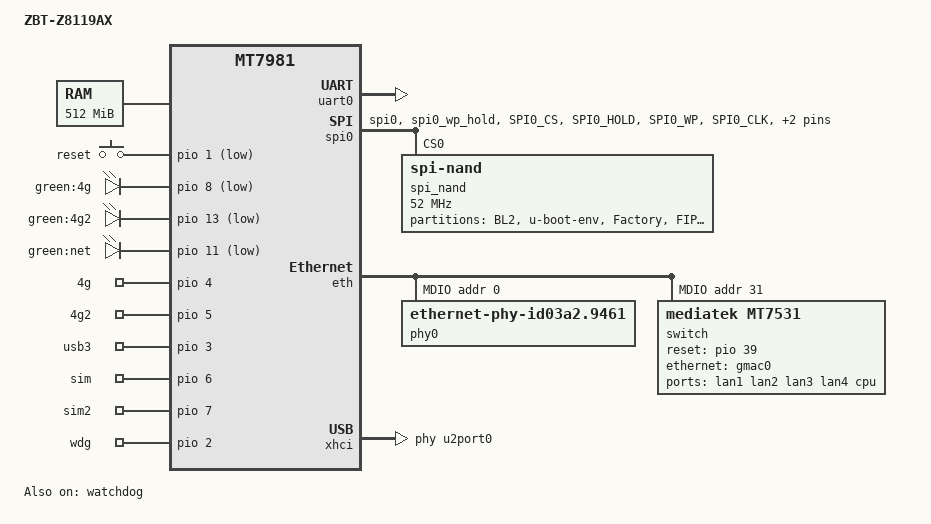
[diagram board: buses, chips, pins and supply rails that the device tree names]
/dts-v1/;
#include "mt7981.dtsi"
#include <dt-bindings/gpio/gpio.h>
#include <dt-bindings/input/input.h>

/ {
	model = "ZBT-Z8119AX";
	compatible = "zbtlink,z8119ax", "mediatek,mt7981-spim-snand-rfb";

	chosen {
		bootargs = "console=ttyS0,115200n1 loglevel=8 earlycon=uart8250,mmio32,0x11002000 ipv6.disable=1";
	};

	memory {
		reg = <0 0x40000000 0 0x20000000>;
	};

	gpio-keys {
		compatible = "gpio-keys";
		reset {
			label = "reset";
			linux,code = <KEY_RESTART>;
			gpios = <&pio 1 GPIO_ACTIVE_LOW>;
		};
	};

	gpio-leds {
		compatible = "gpio-leds";
		led-4g {
			label = "green:4g";
			gpios = <&pio 8 GPIO_ACTIVE_LOW>;
		};
		led-4g2 {
			label = "green:4g2";
			gpios = <&pio 13 GPIO_ACTIVE_LOW>;
		};
		led-net {
			label = "green:net";
			gpios = <&pio 11 GPIO_ACTIVE_LOW>;
		};
	};

	gpio-export {
		compatible = "gpio-export";
		#size-cells = <0>;
		4g {
			gpio-export,name = "4g";
			gpio-export,output = <1>;
			gpios = <&pio 4 GPIO_ACTIVE_HIGH>;
		};
		4g2 {
			gpio-export,name = "4g2";
			gpio-export,output = <1>;
			gpios = <&pio 5 GPIO_ACTIVE_HIGH>;
		};
		usb3 {
			gpio-export,name = "usb3";
			gpio-export,output = <1>;
			gpios = <&pio 3 GPIO_ACTIVE_HIGH>;
		};
		sim {
			gpio-export,name = "sim";
			gpio-export,output = <1>;
			gpios = <&pio 6 GPIO_ACTIVE_HIGH>;
		};
		sim2 {
			gpio-export,name = "sim2";
			gpio-export,output = <1>;
			gpios = <&pio 7 GPIO_ACTIVE_HIGH>;
		};
		wdg {
			gpio-export,name = "wdg";
			gpio-export,output = <1>;
			gpios = <&pio 2 GPIO_ACTIVE_HIGH>;
		};
	};
};

&uart0 {
	status = "okay";
};

&watchdog {
	status = "okay";
};

&spi0 {
	pinctrl-names = "default";
	pinctrl-0 = <&spi0_flash_pins>;
	status = "okay";

	spi_nand: spi_nand@0 {
		#address-cells = <1>;
		#size-cells = <1>;
		compatible = "spi-nand";
		reg = <0>;
		spi-max-frequency = <52000000>;
		spi-tx-bus-width = <4>;
		spi-rx-bus-width = <4>;

		partitions {
			compatible = "fixed-partitions";
			#address-cells = <1>;
			#size-cells = <1>;

			partition@0 {
				label = "BL2";
				reg = <0x00000 0x0100000>;
				read-only;
			};

			partition@100000 {
				label = "u-boot-env";
				reg = <0x0100000 0x0080000>;
			};

			factory: partition@180000 {
				label = "Factory";
				reg = <0x180000 0x0200000>;
				read-only;
			};

			partition@380000 {
				label = "FIP";
				reg = <0x380000 0x0200000>;
				read-only;
			};

			partition@580000 {
				label = "ubi";
				reg = <0x580000 0x7280000>;
			};
		};
	};
};

&factory {
	compatible = "nvmem-cells";
	#address-cells = <1>;
	#size-cells = <1>;
	phy_calibration: cal@400 {
		reg = <0x400 0x100>;
	};
};

&eth {
	status = "okay";

	gmac0: mac@0 {
		compatible = "mediatek,eth-mac";
		reg = <0>;
		phy-mode = "2500base-x";

		fixed-link {
			speed = <2500>;
			full-duplex;
			pause;
		};
	};

	gmac1: mac@1 {
		compatible = "mediatek,eth-mac";
		reg = <1>;
		phy-mode = "gmii";
		phy-handle = <&phy0>;
	};

	mdio: mdio-bus {
		#address-cells = <1>;
		#size-cells = <0>;

		phy0: ethernet-phy@0 {
			compatible = "ethernet-phy-id03a2.9461";
			reg = <0>;
			phy-mode = "gmii";
			nvmem-cells = <&phy_calibration>;
			nvmem-cell-names = "phy-cal-data";
		};

		switch@1f {
			compatible = "mediatek,mt7531";
			reg = <31>;
			/* 严格还原厂家写法，使用 0 (GPIO_ACTIVE_HIGH) */
			reset-gpios = <&pio 39 0>;

			ports {
				#address-cells = <1>;
				#size-cells = <0>;

				port@0 {
					reg = <0>;
					label = "lan1";
				};

				port@1 {
					reg = <1>;
					label = "lan2";
				};

				port@2 {
					reg = <2>;
					label = "lan3";
				};

				port@3 {
					reg = <3>;
					label = "lan4";
				};

				port@6 {
					reg = <6>;
					label = "cpu";
					ethernet = <&gmac0>;
					phy-mode = "2500base-x";

					fixed-link {
						speed = <2500>;
						full-duplex;
						pause;
					};
				};
			};
		};
	};
};

&xhci {
	mediatek,u3p-dis-msk = <0x0>;
	phys = <&u2port0 PHY_TYPE_USB2>,
	       <&u3port0 PHY_TYPE_USB3>;
	status = "okay";
};

&pio {
	spi0_flash_pins: spi0-pins {
		mux {
			function = "spi";
			groups = "spi0", "spi0_wp_hold";
		};
		conf-pu {
			pins = "SPI0_CS", "SPI0_HOLD", "SPI0_WP";
			drive-strength = <MTK_DRIVE_8mA>;
			bias-pull-up = <MTK_PUPD_SET_R1R0_11>;
		};
		conf-pd {
			pins = "SPI0_CLK", "SPI0_MOSI", "SPI0_MISO";
			drive-strength = <MTK_DRIVE_8mA>;
			bias-pull-down = <MTK_PUPD_SET_R1R0_11>;
		};
	};
};
